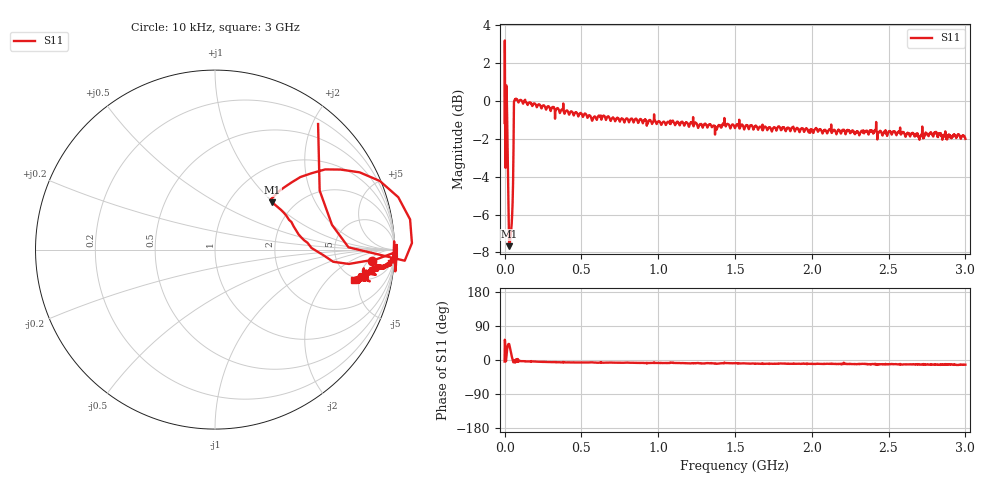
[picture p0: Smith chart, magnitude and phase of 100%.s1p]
# HZ S RI R 50
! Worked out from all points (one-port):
!   2020 points, 10 kHz to 3 GHz, reference 50 ohm
!   lowest |S11| = -7.7 dB at 31.21 MHz (marker M1), VSWR 2.41, Z = 77.8 + j49.3 ohm
!   |S11| at or under -10 dB: nowhere
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10000  0.8731 -0.0618
5953516  0.6517 0.138
1.635467e7  0.806 0.4304
1.932643e7  0.6136 0.4467
2.378406e7  0.4284 0.3754
2.675582e7  0.3572 0.3262
3.121346e7  0.3191 0.2627
3.715698e7  0.3837 0.2051
4.310049e7  0.4389 0.1282
5.350164e7  0.5667 -0.00847
6.39028e7  1.003 -0.0348
7.133219e7  1.013 0.00979
7.578983e7  1.012 0.0261
1.485979e8  0.9772 -0.0646
3.759374e8  0.9448 -0.1025
5.765311e8  0.8943 -0.104
7.503789e8  0.875 -0.111
1.126306e9  0.8713 -0.1213
1.334329e9  0.858 -0.1306
1.381877e9  0.8317 -0.145
1.435369e9  0.8589 -0.1215
1.500748e9  0.8393 -0.1264
1.674596e9  0.8345 -0.1455
1.875189e9  0.8386 -0.1505
2.251117e9  0.8094 -0.1517
2.625558e9  0.8053 -0.1631
2.811293e9  0.8098 -0.1693
3e9  0.7758 -0.1703
